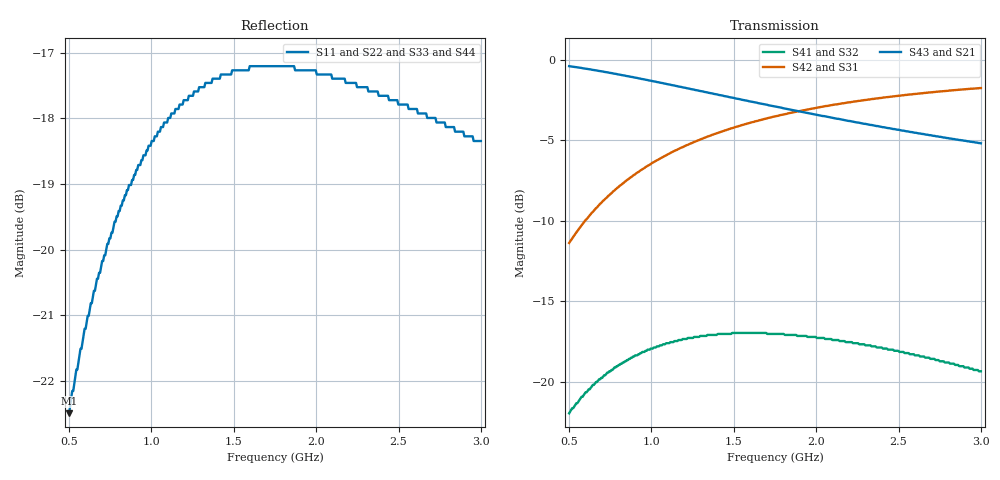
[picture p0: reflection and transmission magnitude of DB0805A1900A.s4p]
!	AVX THIN FILM OPERATION
!	0805 SIZE 3dB 90deg COUPLER P/N DB0805A1900AWTR
!	Created March 23 2003
!	Network Analyzer HP8720E S.07.64: Feb23, 2000 Serial No.US39172382
#	MHZ	S	MA	R	50
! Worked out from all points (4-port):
!   400 points, 500 MHz to 3 GHz, reference 50 ohm
!   strongest paths, dB at 500 MHz, 1.127 GHz, 1.753 GHz, 2.38 GHz, 3 GHz:
!     S43: -0.4, -1.6, -2.9, -4.1, -5.2
!     S21: -0.4, -1.6, -2.9, -4.1, -5.2
!     S42: -11.4, -5.7, -3.5, -2.4, -1.8
!     S31: -11.4, -5.7, -3.5, -2.4, -1.8
!     S41: -21.9, -17.5, -17.0, -17.9, -19.3
!     S32: -21.9, -17.5, -17.0, -17.9, -19.3
!   lowest |S11| = -22.5 dB at 500 MHz (marker M1), VSWR 1.16, Z = 45.8 - j5.83 ohm
!   |S11| at or under -10 dB: start of sweep to end of sweep
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500  0.075 -122.4  0.954 -16.9  0.27 71.7  0.08 57.9
     0.954 -16.9  0.075 -122.4  0.08 57.9  0.27 71.7
     0.27 71.7  0.08 57.9  0.075 -122.4  0.954 -16.9
     0.08 57.9  0.27 71.7  0.954 -16.9  0.075 -122.4
669.173  0.095 -133.2  0.925 -22.0  0.348 66.3  0.1 48.1
         0.925 -22.0  0.095 -133.2  0.1 48.1  0.348 66.3
         0.348 66.3  0.1 48.1  0.095 -133.2  0.925 -22.0
         0.1 48.1  0.348 66.3  0.925 -22.0  0.095 -133.2
863.409  0.112 -144.4  0.887 -27.3  0.427 60.6  0.118 37.9
         0.887 -27.3  0.112 -144.4  0.118 37.9  0.427 60.6
         0.427 60.6  0.118 37.9  0.112 -144.4  0.887 -27.3
         0.118 37.9  0.427 60.6  0.887 -27.3  0.112 -144.4
1088.972  0.125 -156.1  0.841 -32.9  0.505 54.8  0.132 27.2
          0.841 -32.9  0.125 -156.1  0.132 27.2  0.505 54.8
          0.505 54.8  0.132 27.2  0.125 -156.1  0.841 -32.9
          0.132 27.2  0.505 54.8  0.841 -32.9  0.125 -156.1
1339.599  0.134 -167.7  0.791 -38.4  0.577 49.2  0.14 17.0
          0.791 -38.4  0.134 -167.7  0.14 17.0  0.577 49.2
          0.577 49.2  0.14 17.0  0.134 -167.7  0.791 -38.4
          0.14 17.0  0.577 49.2  0.791 -38.4  0.134 -167.7
2116.541  0.135 164.4  0.657 -51.7  0.726 36.1  0.135 -6.2
          0.657 -51.7  0.135 164.4  0.135 -6.2  0.726 36.1
          0.726 36.1  0.135 -6.2  0.135 164.4  0.657 -51.7
          0.135 -6.2  0.726 36.1  0.657 -51.7  0.135 164.4
3000  0.121 141.2  0.55 -62.5  0.816 25.8  0.108 -20.2
      0.55 -62.5  0.121 141.2  0.108 -20.2  0.816 25.8
      0.816 25.8  0.108 -20.2  0.121 141.2  0.55 -62.5
      0.108 -20.2  0.816 25.8  0.55 -62.5  0.121 141.2
